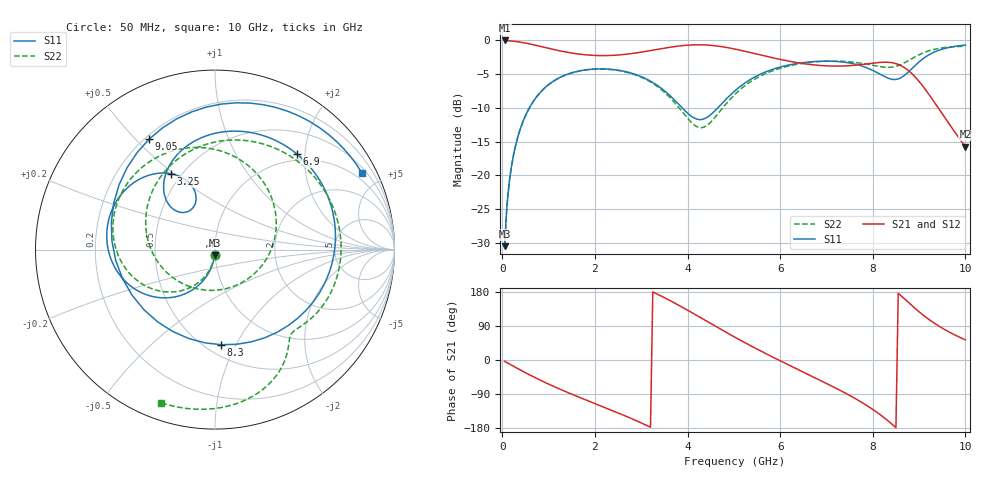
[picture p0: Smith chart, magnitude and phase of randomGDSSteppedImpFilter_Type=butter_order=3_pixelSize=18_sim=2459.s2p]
! freq	dB(S11)	phase(S11)	dB(S12)	phase(S12)
!  dB(S21)	phase(S21)	dB(S22)	phase(S22)
!S-par simulation data
#  GHz  S  DB  R 50
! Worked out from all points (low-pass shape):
!   200 points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, 50 MHz to 10 GHz, reference 50 ohm
!   highest |S21| = -0.01 dB at 50 MHz (marker M1); lowest = -15.8 dB at 10 GHz (marker M2)
!   |S21| within 3 dB of the highest: start of sweep to 6.14 GHz
!   lowest |S11| = -30.5 dB at 50 MHz (marker M3), VSWR 1.06, Z = 49.7 - j2.98 ohm
!   |S11| at or under -10 dB: start of sweep to 585.1 MHz; 3.887 GHz to 4.651 GHz (764.1 MHz wide, 17.9 % of centre)
!   |S22| runs from -30.5 to -0.9 dB; largest |S21 - S12| = 0
!   S11 on the Smith chart (normalised r, x): 50 MHz: 0.99, -0.06; 3.25 GHz: 0.44, +0.49; 6.9 GHz: 0.87, +1.84; 8.3 GHz: 0.59, -0.87; 9.05 GHz: 0.22, +0.55; 10 GHz: 0.68, +3.94
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0.05  -30.47 -93.4  -0.01 -3.5  -0.01 -3.5  -30.47 -93.9
0.2  -18.56 -103.2  -0.09 -13.7  -0.09 -13.7  -18.57 -105.2
0.5  -11.16 -121.6  -0.39 -33.5  -0.39 -33.5  -11.16 -126.5
1.05  -6.28 -151.5  -1.25 -66.4  -1.25 -66.4  -6.30 -162.2
1.75  -4.41 176.7  -2.10 -102.7  -2.10 -102.7  -4.43 157.1
2.55  -4.47 145.1  -2.13 -142.2  -2.13 -142.2  -4.51 110.3
3.25  -6.23 120.0  -1.45 179.7  -1.45 179.7  -6.37 60.4
3.4  -6.92 115.5  -1.26 170.7  -1.26 170.7  -7.10 47.2
3.85  -9.74 109.2  -0.80 141.7  -0.80 141.7  -10.26 -2.8
4.3  -11.72 124.2  -0.65 110.5  -0.65 110.5  -12.93 -82.9
5.05  -7.31 131.4  -1.32 58.3  -1.32 58.3  -7.81 161.5
5.9  -4.15 99.2  -2.67 4.0  -2.67 4.0  -4.35 86.7
6.7  -3.15 60.5  -3.61 -43.8  -3.61 -43.8  -3.21 31.3
6.9  -3.08 49.5  -3.73 -55.7  -3.73 -55.7  -3.11 18.9
7.7  -3.66 -7.0  -3.62 -107.3  -3.62 -107.3  -3.33 -24.7
8  -4.45 -39.5  -3.36 -130.4  -3.36 -130.4  -3.69 -37.3
8.3  -5.50 -86.5  -3.23 -157.6  -3.23 -157.6  -3.99 -45.8
8.35  -5.64 -96.2  -3.25 -162.6  -3.25 -162.6  -3.99 -46.9
8.7  -5.09 -173.7  -4.10 159.5  -4.10 159.5  -3.26 -53.7
9.05  -2.90 120.8  -6.50 122.2  -6.50 122.2  -1.97 -66.5
9.45  -1.40 71.5  -10.36 87.8  -10.36 87.8  -1.16 -85.4
10  -0.69 27.7  -15.76 53.0  -15.76 53.0  -0.87 -109.6
